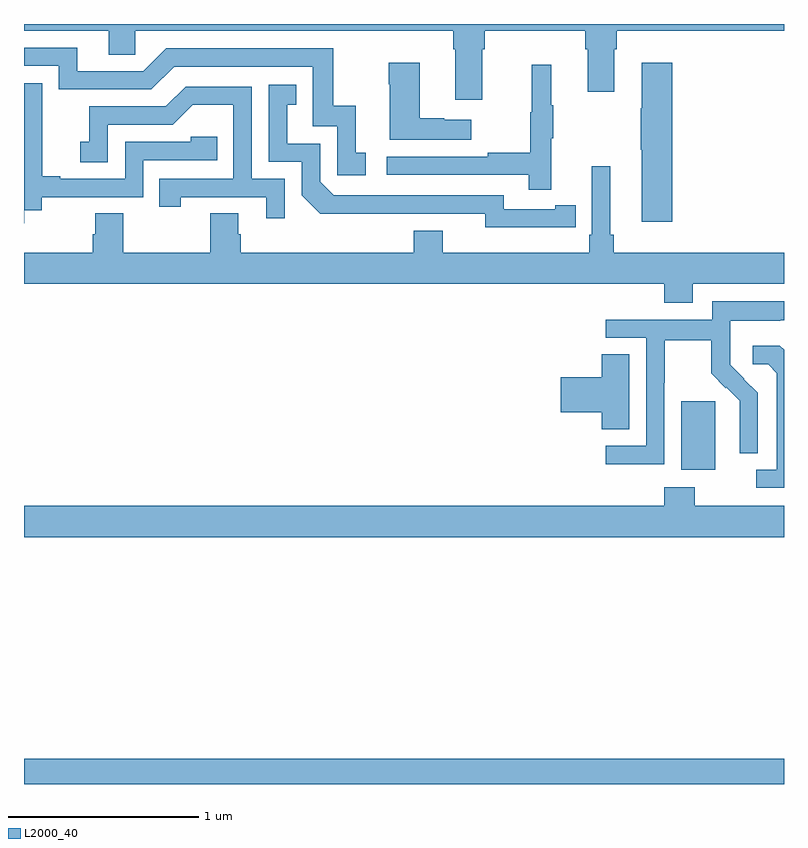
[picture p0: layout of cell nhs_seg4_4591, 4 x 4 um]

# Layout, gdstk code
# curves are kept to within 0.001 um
import gdstk
lib = gdstk.Library(unit=1e-6, precision=1e-09)
def R(c, l, rs):  # rectangles x0, y0, x1, y1
    for r in rs: c.add(gdstk.rectangle(r[:2], r[2:], *l))
def P(c, l, *ps):  # polygons
    for p in ps: c.add(gdstk.Polygon(p, *l))
L2000_40 = (2000, 40)

nhs_seg4_4591 = lib.new_cell('nhs_seg4_4591')
R(nhs_seg4_4591, L2000_40, [(359,748.9,363,749.032), (362.459,750.554,362.638,750.915)])
P(nhs_seg4_4591, L2000_40, [(361.411,752.768),(361.424,752.768),(361.424,752.864),(361.955,752.864),(361.955,752.768),(361.967,752.768),(361.967,752.544),(362.107,752.544),(362.107,752.768),(362.12,752.768),(362.12,752.864),(363,752.864),(363,752.9),(359,752.9),(359,752.864),(359.447,752.864),(359.447,752.737),(359.586,752.737),(359.586,752.864),(361.259,752.864),(361.259,752.768),(361.271,752.768),(361.271,752.502),(361.411,752.502)],
  [(360.799,752.223),(360.746,752.223),(360.746,752.47),(360.628,752.47),(360.628,752.772),(359.748,752.772),(359.628,752.652),(359.281,752.652),(359.281,752.775),(359,752.775),(359,752.679),(359.184,752.679),(359.184,752.556),(359.67,752.556),(359.79,752.676),(360.519,752.676),(360.519,752.361),(360.648,752.361),(360.648,752.103),(360.799,752.103)],
  [(362.411,752.695),(362.252,752.695),(362.252,752.456),(362.245,752.456),(362.245,752.239),(362.252,752.239),(362.252,751.86),(362.411,751.86)],
  [(361.354,752.395),(361.211,752.395),(361.211,752.405),(361.084,752.405),(361.084,752.695),(360.919,752.695),(360.919,752.582),(360.926,752.582),(360.926,752.291),(361.354,752.291)],
  [(361.775,752.299),(361.786,752.299),(361.786,752.473),(361.775,752.473),(361.775,752.686),(361.672,752.686),(361.672,752.436),(361.665,752.436),(361.665,752.222),(361.441,752.222),(361.441,752.202),(360.909,752.202),(360.909,752.106),(361.657,752.106),(361.657,752.028),(361.775,752.028)],
  [(359.002,751.921),(359.094,751.921),(359.094,751.989),(359.628,751.989),(359.628,752.184),(360.017,752.184),(360.017,752.307),(359.877,752.307),(359.877,752.28),(359.532,752.28),(359.532,752.085),(359.191,752.085),(359.191,752.098),(359.096,752.098),(359.096,752.381),(359.097,752.381),(359.097,752.587),(359,752.587),(359,751.851),(359.002,751.851)],
  [(361.796,751.83),(361.904,751.83),(361.904,751.946),(361.796,751.946),(361.796,751.926),(361.524,751.926),(361.524,751.998),(360.63,751.998),(360.558,752.07),(360.558,752.271),(360.385,752.271),(360.385,752.475),(360.434,752.475),(360.434,752.581),(360.288,752.581),(360.288,752.175),(360.462,752.175),(360.462,751.998),(360.56,751.901),(361.428,751.902),(361.428,751.829)],
  [(360.372,752.085),(360.198,752.085),(360.198,752.571),(359.852,752.571),(359.747,752.466),(359.344,752.466),(359.344,752.281),(359.295,752.281),(359.295,752.172),(359.442,752.172),(359.442,752.37),(359.784,752.37),(359.888,752.474),(360.102,752.474),(360.102,752.085),(359.713,752.085),(359.713,751.938),(359.824,751.938),(359.824,751.989),(360.275,751.989),(360.275,751.878),(360.372,751.878)],
  [(362.521,751.532),(363,751.532),(363,751.696),(362.105,751.696),(362.105,751.792),(362.086,751.792),(362.086,752.152),(361.989,752.152),(361.989,751.792),(361.976,751.792),(361.976,751.696),(361.204,751.696),(361.204,751.813),(361.052,751.813),(361.052,751.696),(360.14,751.696),(360.14,751.794),(360.127,751.794),(360.127,751.904),(359.98,751.904),(359.98,751.696),(359.523,751.696),(359.523,751.904),(359.375,751.904),(359.375,751.794),(359.363,751.794),(359.363,751.696),(359,751.696),(359,751.532),(362.369,751.532),(362.369,751.433),(362.521,751.433)],
  [(362.37,751.012),(362.373,751.012),(362.373,751.236),(362.617,751.236),(362.617,751.061),(362.694,750.984),(362.697,750.987),(362.768,750.917),(362.768,750.794),(362.766,750.794),(362.766,750.64),(362.862,750.64),(362.862,750.958),(362.716,751.106),(362.716,751.203),(362.718,751.203),(362.718,751.337),(362.981,751.337),(362.981,751.341),(363,751.341),(363,751.441),(362.622,751.441),(362.622,751.344),(362.061,751.344),(362.061,751.248),(362.274,751.248),(362.274,750.681),(362.061,750.681),(362.061,750.583),(362.37,750.583)],
  [(363,751.185),(362.978,751.207),(362.835,751.207),(362.835,751.11),(362.916,751.11),(362.963,751.063),(362.963,750.555),(362.853,750.555),(362.853,750.459),(363,750.459)],
  [(362.185,751.163),(362.042,751.163),(362.042,751.04),(361.824,751.04),(361.824,750.857),(362.042,750.857),(362.042,750.766),(362.185,750.766)],
  [(363,750.364),(362.529,750.364),(362.529,750.463),(362.369,750.463),(362.369,750.364),(359,750.364),(359,750.2),(363,750.2)])

lib.write_gds('nhs_seg4_4591.gds')
